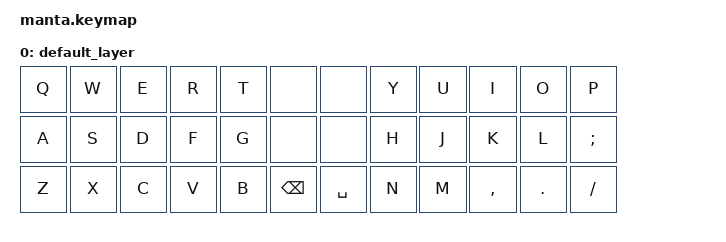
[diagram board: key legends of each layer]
#include <behaviors.dtsi>
#include <dt-bindings/zmk/keys.h>

/ {
	keymap {
		compatible = "zmk,keymap";

		default_layer {
			bindings = <
	&kp Q    &kp W    &kp E     &kp R  &kp T    &none       &none       &kp Y   &kp U   &kp I       &kp O    &kp P
	&kp A    &kp S    &kp D     &kp F  &kp G    &none       &none       &kp H   &kp J   &kp K       &kp L    &kp SEMI
	&kp Z    &kp X    &kp C     &kp V  &kp B    &kp BSPC    &kp SPC     &kp N   &kp M   &kp COMMA   &kp DOT  &kp FSLH
			>;
		};
	};
};
